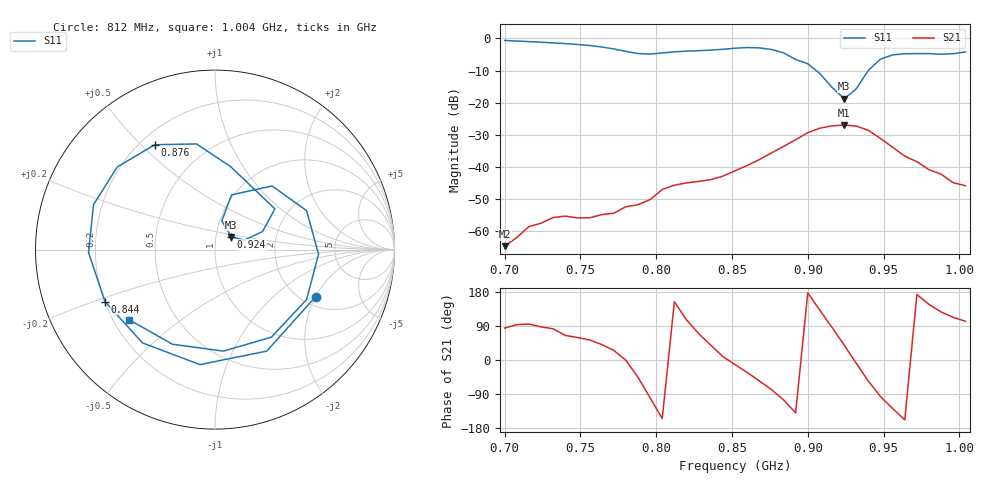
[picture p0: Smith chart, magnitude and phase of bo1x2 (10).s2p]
# Hz S RI R 50
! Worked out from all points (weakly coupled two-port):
!   39 points, 700 MHz to 1.004 GHz, reference 50 ohm
!   highest |S21| = -27.00 dB at 924 MHz (marker M1); lowest = -64.7 dB at 700 MHz (marker M2)
!   lowest |S11| = -18.8 dB at 924 MHz (marker M3), VSWR 1.26, Z = 59.3 + j8.53 ohm
!   |S11| at or under -10 dB: 905.5 MHz to 939.9 MHz (34.36 MHz wide, 3.72 % of centre)
!   S12 and S22 are empty: the file has one direction only
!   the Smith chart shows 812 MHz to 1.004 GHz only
!   S11 on the Smith chart (normalised r, x): 812 MHz: 2.36, -2.00; 844 MHz: 0.20, -0.22; 876 MHz: 0.26, +0.55; 924 MHz: 1.19, +0.17; 1.004 GHz: 0.26, -0.33
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7e8  0.7452 0.5575  5.82e-05 0.000578  0 0  0 0
7.24e8  0.8423 -0.2343  5.76e-05 0.00132  0 0  0 0
7.4e8  0.4639 -0.6898  0.000725 0.00155  0 0  0 0
7.56e8  -0.1836 -0.7549  0.000966 0.00129  0 0  0 0
7.72e8  -0.6553 -0.2068  0.00171 0.000818  0 0  0 0
7.8e8  -0.5903 0.2162  0.00239 -3.01e-05  0 0  0 0
7.88e8  -0.2507 0.5247  0.00179 -0.00184  0 0  0 0
7.96e8  0.2288 0.523  -0.000538 -0.00305  0 0  0 0
8.04e8  0.5638 0.188  -0.004 -0.00192  0 0  0 0
8.12e8  0.5603 -0.2622  -0.00464 0.00229  0 0  0 0
8.28e8  -0.0838 -0.6408  0.00205 0.00556  0 0  0 0
8.44e8  -0.6128 -0.2898  0.00708 0.00114  0 0  0 0
8.52e8  -0.7049 -0.0158  0.00848 -0.00184  0 0  0 0
8.76e8  -0.3357 0.5843  0.0035 -0.0161  0 0  0 0
9e8  0.3338 0.2271  -0.0341 0.0017  0 0  0 0
9.08e8  0.2652 0.1009  -0.0264 0.0301  0 0  0 0
9.24e8  0.0907 0.071  0.0344 0.0285  0 0  0 0
9.4e8  0.0926 0.3051  0.0208 -0.0306  0 0  0 0
9.56e8  0.5103 0.2171  -0.0124 -0.0158  0 0  0 0
9.64e8  0.577 -0.0258  -0.0136 -0.00554  0 0  0 0
9.8e8  0.3142 -0.4879  -0.00754 0.00497  0 0  0 0
1.004e9  -0.4775 -0.3912  -0.00108 0.00498  0 0  0 0
